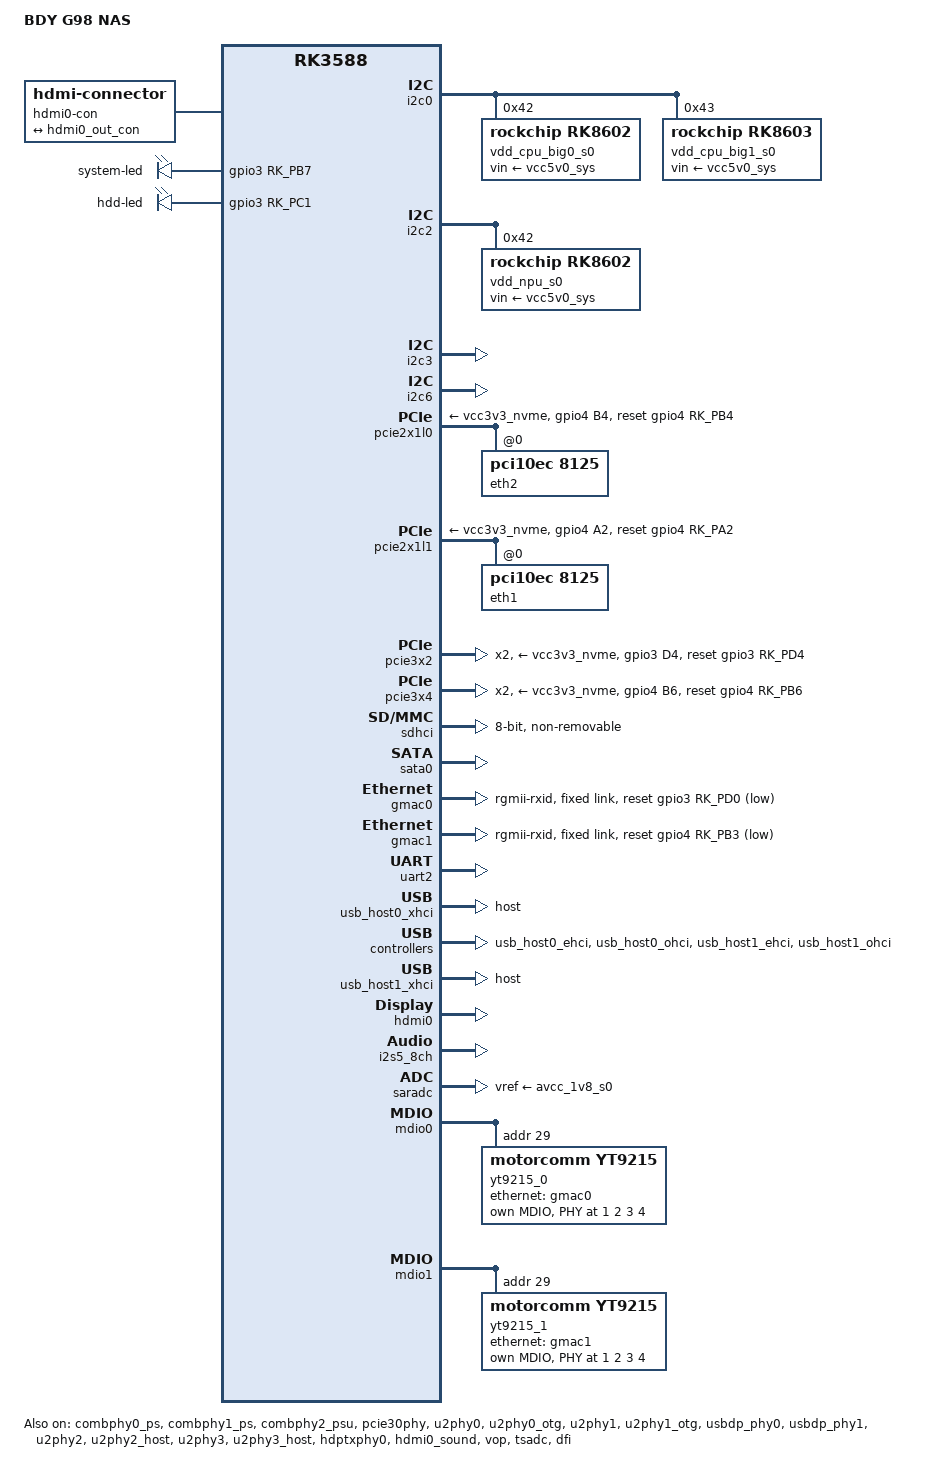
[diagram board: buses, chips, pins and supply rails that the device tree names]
// SPDX-License-Identifier: (GPL-2.0+ OR MIT)

/dts-v1/;

#include <dt-bindings/gpio/gpio.h>
#include <dt-bindings/input/input.h>
#include <dt-bindings/pinctrl/rockchip.h>
#include <dt-bindings/soc/rockchip,vop2.h>
#include "dt-bindings/usb/pd.h"
/*
 * G98 uses the validated v27 board-specific RK3588 base.  It is intentionally
 * kept separate from the generic upstream rk3588.dtsi used by other boards.
 */
#include "rk3588-bdy-g98-base.dtsi"

#include "rk3588-rk806-single-g98.dtsi"
//#include "rk3588s-ip.dtsi"
//#include "rk3588s-ip-supply.dtsi"
//#include "rk3588-ramoops.dtsi"

/ {
	/* Board-level source for the G98 iStoreOS 6.12 image. */
	model = "BDY G98 NAS";
	compatible = "bdy,g98-nas", "rockchip,rk3588";
	/* Stable naming: first RTL8125 is WAN, second RTL8125 and both
	 * YT9215 CPU conduits are LAN-side interfaces. */
	eth_order = "0003:31:00.0,0002:21:00.0,fe1b0000.ethernet,fe1c0000.ethernet";

	aliases {
		/* Keep eMMC as mmc0; U-Boot and fnOS rely on this numbering. */
		mmc0 = &sdhci;
		mmc1 = &sdmmc;
		ethernet0 = &gmac0;
		ethernet1 = &gmac1;
	};

	chosen {
		stdout-path = "serial2:1500000n8";
	};

	/* Reuse the v18 ADC key node; only the G98 recovery key is exposed. */
	adc-keys-0 {
		io-channel-names = "buttons";
		io-channels = <&saradc 1>;
		keyup-threshold-microvolt = <0x1b7740>;
		poll-interval = <0x64>;
		status = "okay";
		/delete-node/ button-maskrom;

		recovery-key {
			label = "F12";
			linux,code = <0x58>;
			press-threshold-microvolt = <0x6d6>;
		};
	};

	/* 12 V board input (v18 regulator node). */
	vcc12v_dcin: regulator-vcc12v-dcin {
		regulator-always-on;
		regulator-boot-on;
		regulator-min-microvolt = <12000000>;
		regulator-max-microvolt = <12000000>;
		regulator-name = "vcc12v_dcin";
	};

	/* 4 V rail feeding RK806 and the external RK8602 regulators. */
	vcc4v0_sys: regulator-vcc4v0-sys {
		regulator-always-on;
		regulator-boot-on;
		regulator-min-microvolt = <4000000>;
		regulator-max-microvolt = <4000000>;
		regulator-name = "vcc4v0_sys";
		vin-supply = <&vcc12v_dcin>;
	};

	/* 5 V system rail for USB and PCIe peripherals. */
	vcc5v0_sys: regulator-vcc5v0-sys {
		regulator-always-on;
		regulator-boot-on;
		regulator-min-microvolt = <5000000>;
		regulator-max-microvolt = <5000000>;
		regulator-name = "vcc5v0_sys";
		vin-supply = <&vcc12v_dcin>;
	};

	/* 1.1 V auxiliary rail. */
	vcc_1v1_nldo_s3: regulator-vcc-1v1-nldo-s3 {
		regulator-name = "vcc_1v1_nldo_s3";
		regulator-always-on;
		regulator-boot-on;
		regulator-min-microvolt = <1100000>;
		regulator-max-microvolt = <1100000>;
		vin-supply = <&vcc4v0_sys>;
	};

	/* Shared 3.3 V rail used by the active PCIe root ports. */
	vcc3v3_nvme: regulator-vcc3v3-pcie30 {
		regulator-min-microvolt = <3300000>;
		regulator-max-microvolt = <3300000>;
		regulator-name = "vcc3v3_nvme";
		vin-supply = <&vcc5v0_sys>;
		enable-active-high;
		gpios = <&gpio3 RK_PD5 GPIO_ACTIVE_HIGH>;
		startup-delay-us = <7500>;
		pinctrl-names = "default";
		pinctrl-0 = <&nvme_power_en>;
	};

	/* Unused PCIe2x1l2 rail; kept to preserve the board DT topology. */
	vcc3v3_pcie20: regulator-vcc3v3-pcie20 {
		regulator-always-on;
		regulator-boot-on;
		regulator-min-microvolt = <3300000>;
		regulator-max-microvolt = <3300000>;
		regulator-name = "vcc_3v3_pcie20";
		vin-supply = <&vcc_3v3_s3>;
	};

	/* Legacy per-port rail is disabled; active ports use vcc3v3_nvme. */
	regulator-vcc3v3-pcie2x1l0 {
		status = "disabled";
		enable-active-high;
		gpio = <&gpio4 RK_PC2 GPIO_ACTIVE_HIGH>;
		pinctrl-names = "default";
		pinctrl-0 = <&pcie2x1l0_power_en>;
		regulator-name = "vcc3v3_pcie2x1l0";
		regulator-min-microvolt = <3300000>;
		regulator-max-microvolt = <3300000>;
		vin-supply = <&vcc5v0_sys>;
	};

	/* 5 V rail for the USB host PHYs. */
	vcc5v0_host_regulator: regulator-vbus5v0-usb {
		enable-active-high;
		gpio = <&gpio4 RK_PB0 GPIO_ACTIVE_HIGH>;
		pinctrl-names = "default";
		pinctrl-0 = <&vcc5v0_host_en>;
		regulator-name = "vbus5v0_usb";
		regulator-boot-on;
		regulator-always-on;
		regulator-min-microvolt = <5000000>;
		regulator-max-microvolt = <5000000>;
		vin-supply = <&vcc5v0_sys>;
	};

	/* 5 V rail for the OTG connector. */
	vcc5v0_otg_regulator: regulator-vbus5v0-typec {
		enable-active-high;
		gpio = <&gpio4 RK_PA7 GPIO_ACTIVE_HIGH>;
		pinctrl-names = "default";
		pinctrl-0 = <&vcc5v0_otg_en>;
		regulator-min-microvolt = <5000000>;
		regulator-max-microvolt = <5000000>;
		regulator-name = "vcc5v0_otg";
		vin-supply = <&vcc5v0_sys>;
	};

	/* SD rail is retained even though the SD controller is disabled. */
	regulator-vcc3v3-sd-s0 {
		gpio = <&gpio4 RK_PA5 GPIO_ACTIVE_LOW>;
		regulator-boot-on;
		regulator-min-microvolt = <3300000>;
		regulator-max-microvolt = <3300000>;
		regulator-name = "vcc3v3_sd_s0";
		vin-supply = <&vcc_3v3_s3>;
	};

	/* Unpopulated 4G power rail retained from the board DT. */
	regulator-vdd-4g-3v3 {
		enable-active-high;
		gpio = <&gpio4 RK_PC6 GPIO_ACTIVE_HIGH>;
		pinctrl-names = "default";
		pinctrl-0 = <&g98_4g_power_en>;
		regulator-name = "vdd_4g_3v3";
		regulator-min-microvolt = <3300000>;
		regulator-max-microvolt = <3300000>;
		vin-supply = <&vcc5v0_sys>;
	};

	hdmi0-con {
		compatible = "hdmi-connector";
		type = "a";

		port {
			hdmi0_con_in: endpoint {
				remote-endpoint = <&hdmi0_out_con>;
			};
		};
	};

	leds {
		status = "okay";
		/delete-node/ led-0;

		system-led {
			default-state = "on";
			gpios = <&gpio3 RK_PB7 GPIO_ACTIVE_HIGH>;
			label = "system-led";
			linux,default-trigger = "default-on";
		};

		hdd-led {
			default-state = "off";
			gpios = <&gpio3 RK_PC1 GPIO_ACTIVE_HIGH>;
			label = "hdd-led";
			linux,default-trigger = "disk-activity";
		};
	};
};

/* v18 removed the stale HDMI1 connector from the base tree. */
/ {
	/delete-node/ hdmi1-con;
	/delete-node/ ir-receiver;
};

/* Media status is pinned to the v18 production tree. */
&{/npu@fdab0000} {
	status = "okay";
};

&{/npu@fdac0000} {
	status = "disabled";
};

&{/npu@fdad0000} {
	status = "disabled";
};

&{/mpp-srv} {
	status = "okay";
};

&{/vepu@fdb50000} {
	status = "disabled";
};

&{/vdpu@fdb50400} {
	status = "okay";
};

&{/avsd-plus@fdb51000} {
	status = "disabled";
};

&{/rga@fdb60000} {
	status = "okay";
};

&{/rga@fdb70000} {
	status = "okay";
};

&{/rga@fdb80000} {
	status = "okay";
};

/* ===== CPU Power ===== */

&cpu_l0 {
	cpu-supply = <&vdd_cpu_lit_s0>;
};

&cpu_l1 {
	cpu-supply = <&vdd_cpu_lit_s0>;
};

&cpu_l2 {
	cpu-supply = <&vdd_cpu_lit_s0>;
};

&cpu_l3 {
	cpu-supply = <&vdd_cpu_lit_s0>;
};

&cpu_b0 {
	cpu-supply = <&vdd_cpu_big0_s0>;
};

&cpu_b1 {
	cpu-supply = <&vdd_cpu_big0_s0>;
};

&cpu_b2 {
	cpu-supply = <&vdd_cpu_big1_s0>;
};

&cpu_b3 {
	cpu-supply = <&vdd_cpu_big1_s0>;
};

&i2c0 {
	pinctrl-names = "default";
	pinctrl-0 = <&i2c0m2_xfer>;
	status = "okay";

	vdd_cpu_big0_s0: regulator@42 {
		compatible = "rockchip,rk8602";
		reg = <0x42>;
		fcs,suspend-voltage-selector = <1>;
		regulator-name = "vdd_cpu_big0_s0";
		regulator-always-on;
		regulator-boot-on;
		regulator-min-microvolt = <550000>;
		regulator-max-microvolt = <1050000>;
		regulator-ramp-delay = <2300>;
		vin-supply = <&vcc5v0_sys>;

		regulator-state-mem {
			regulator-off-in-suspend;
		};
	};

	vdd_cpu_big1_s0: regulator@43 {
		compatible = "rockchip,rk8603", "rockchip,rk8602";
		reg = <0x43>;
		fcs,suspend-voltage-selector = <1>;
		regulator-name = "vdd_cpu_big1_s0";
		regulator-always-on;
		regulator-boot-on;
		regulator-min-microvolt = <550000>;
		regulator-max-microvolt = <1050000>;
		regulator-ramp-delay = <2300>;
		vin-supply = <&vcc5v0_sys>;

		regulator-state-mem {
			regulator-off-in-suspend;
		};
	};
};

/* ===== I2C / RTC ===== */

// i2c@fea90000
&i2c1 {
	pinctrl-names = "default";
	pinctrl-0 = <&i2c1m0_xfer>;
	status = "disabled";
};

// i2c2: i2c@feaa0000
&i2c2 {
	pinctrl-names = "default";
	pinctrl-0 = <&i2c2m0_xfer>;
	status = "okay";

	vdd_npu_s0: vdd_npu_mem_s0: regulator@42 {
		compatible = "rockchip,rk8602";
		reg = <0x42>;
		fcs,suspend-voltage-selector = <1>;
		regulator-name = "vdd_npu_s0";
		regulator-always-on;
		regulator-boot-on;
		regulator-enable-ramp-delay = <500>;
		regulator-min-microvolt = <550000>;
		regulator-max-microvolt = <950000>;
		regulator-ramp-delay = <2300>;
		vin-supply = <&vcc5v0_sys>;

		regulator-state-mem {
			regulator-off-in-suspend;
		};
	};
};

// i2c3: i2c@feab0000
&i2c3 {
	pinctrl-names = "default";
	pinctrl-0 = <&i2c3m0_xfer>;
	status = "okay";
};

// i2c4: i2c@feac0000
&i2c4 {
	pinctrl-names = "default";
	/* v18 production DTB uses the SoC i2c4m0 pin group. */
	pinctrl-0 = <&i2c4m0_xfer>;
	/* GPIO3_A5 is also GMAC1 RGMII clock; keep this unused bus disabled. */
	status = "disabled";
};

// i2c6: i2c@fec80000
&i2c6 {
	pinctrl-names = "default";
	pinctrl-0 = <&i2c6m0_xfer>;
	status = "okay";
};

/* ===== PCIe ===== */

// phy: phy@fee00000
&combphy0_ps {
	pinctrl-0 = <&sata0_pm_reset>;
	pinctrl-names = "default";
	status = "okay";
};

// phy: phy@fee10000
&combphy1_ps {
	status = "okay";
};

// phy: phy@fee20000
&combphy2_psu {
	status = "okay";
};

// phy: phy@fee80000
&pcie30phy {
	data-lanes = <1 1 2 2>;
	status = "okay";
};

// pcie2x1l0: pcie@fe170000
&pcie2x1l0 {
	pinctrl-names = "default";
	pinctrl-0 = <&pcie2_0_rst>;
	supports-clkreq;
	reset-gpios = <&gpio4 RK_PB4 GPIO_ACTIVE_HIGH>;
	vpcie3v3-supply = <&vcc3v3_nvme>;
	status = "okay";

	/* RTL8125 on PCI domain 2, bus 0x20. */
	pcie@0,0 {
		reg = <0x00200000 0 0 0 0>;
		#address-cells = <3>;
		#size-cells = <2>;

		pcie-eth@20,0 {
			compatible = "pci10ec,8125";
			reg = <0 0 0 0 0>;
			label = "eth2";
			realtek,led-data = <0x022b 0x022b 0x022b 0x022b>;
		};
	};
};

// pcie2x1l1: pcie@fe180000
&pcie2x1l1 {
	pinctrl-names = "default";
	pinctrl-0 = <&pcie2_1_rst>;
	supports-clkreq;
	reset-gpios = <&gpio4 RK_PA2 GPIO_ACTIVE_HIGH>;
	vpcie3v3-supply = <&vcc3v3_nvme>;
	status = "okay";

	/* RTL8125 on PCI domain 3, bus 0x30. */
	pcie@0,0 {
		reg = <0x00300000 0 0 0 0>;
		#address-cells = <3>;
		#size-cells = <2>;

		pcie-eth@30,0 {
			compatible = "pci10ec,8125";
			reg = <0 0 0 0 0>;
			label = "eth1";
			realtek,led-data = <0x022b 0x022b 0x022b 0x022b>;
		};
	};
};

// pcie2x1l2: pcie@fe190000
&pcie2x1l2 {
	vpcie3v3-supply = <&vcc3v3_pcie20>;
	status = "disabled";

	/* Legacy PCIe2x1l2 metadata; the whole controller remains disabled. */
	pcie@0,0 {
		reg = <0x00400000 0 0 0 0>;
		#address-cells = <3>;
		#size-cells = <2>;

		pcie-eth@40,0 {
			compatible = "pci10ec,8125";
			reg = <0 0 0 0 0>;
			label = "eth1";
		};
	};
};

// pcie3x2: pcie@fe160000
&pcie3x2 {
	pinctrl-names = "default";
	pinctrl-0 = <&pcie3x2_rst>;
	num-lanes = <2>;
	reset-gpios = <&gpio3 RK_PD4 GPIO_ACTIVE_HIGH>;
	vpcie3v3-supply = <&vcc3v3_nvme>;
	status = "okay";
};

// pcie3x4: pcie@fe150000
&pcie3x4 {
	pinctrl-names = "default";
	pinctrl-0 = <&pcie3x4_rst>;
	num-lanes = <2>;
	reset-gpios = <&gpio4 RK_PB6 GPIO_ACTIVE_HIGH>;
	vpcie3v3-supply = <&vcc3v3_nvme>;
	status = "okay";
};

/* ===== Pin Control ===== */

&pinctrl {
	/* The board has no IR receiver; remove the disabled placeholder too. */
	/delete-node/ ir-receiver;

	/* Helper used by the active SATA/combphy reset pin. */
	pcfg_output_high: pcfg-output-high {
		bias-disable;
	output-high;
	};

	pcie {
		pcie2_0_rst: pcie2-0-rst {
			rockchip,pins = <4 RK_PB4 RK_FUNC_GPIO &pcfg_pull_none>;
		};

		pcie2_1_rst: pcie2-1-rst {
			rockchip,pins = <4 RK_PA2 RK_FUNC_GPIO &pcfg_pull_none>;
		};

		pcie3x2_rst: pcie3x2-rst {
			rockchip,pins = <3 RK_PD4 RK_FUNC_GPIO &pcfg_pull_none>;
		};

		pcie3x4_rst: pcie3x4-rst {
			rockchip,pins = <4 RK_PB6 RK_FUNC_GPIO &pcfg_pull_none>;
		};

		pcie2x1l0_power_en: pcie2x1l0-power-en {
			rockchip,pins = <4 RK_PC2 RK_FUNC_GPIO &pcfg_pull_none>;
		};
	};

	cellular {
		g98_4g_power_en: 4g-lte-pwren {
			rockchip,pins = <4 RK_PC6 RK_FUNC_GPIO &pcfg_pull_none>;
		};
	};

	nvme {
		nvme_power_en: nvme-power-en {
			rockchip,pins = <3 RK_PD5 RK_FUNC_GPIO &pcfg_pull_none>;
		};
	};

	usb {
		vcc5v0_host_en: vcc5v0-host-en {
			rockchip,pins = <4 RK_PB0 RK_FUNC_GPIO &pcfg_pull_none>;
		};

		vcc5v0_otg_en: vcc5v0-otg-en {
			rockchip,pins = <4 RK_PA7 RK_FUNC_GPIO &pcfg_pull_none>;
		};
	};

	sata {
		sata0_pm_reset: sata0-pm-reset {
			rockchip,pins = <0 RK_PD5 RK_FUNC_GPIO &pcfg_output_high>;
		};
	};
};

/* ===== Storage ===== */

// sdhci: mmc@fe2e0000
&sdhci {
	/* The validated G98 DTB deliberately runs eMMC without CQE. */
	/delete-property/ supports-cqe;
	bus-width = <8>;
	no-sdio;
	no-sd;
	supports-emmc;
	non-removable;
	mmc-hs200-1_8v;
	mmc-hs400-1_8v;
	mmc-hs400-enhanced-strobe;
	status = "okay";
};

// sdmmc: mmc@fe2c0000
&sdmmc {
	status = "disabled";
};

// sdio: mmc@fe2d0000
&sdio {
	/delete-property/ pinctrl-0;
	/delete-property/ pinctrl-names;
	status = "disabled";
};

/* ===== SATA ===== */

// sata0: sata@fe210000
&sata0 {
	status = "okay";
};

/* The board has no bootable SPI-NOR path in the fnOS production image. */
&sfc {
	status = "disabled";
};

/* ===== Ethernet ===== */

// gmac0: ethernet@fe1b0000
&gmac0 {
	clock_in_out = "output";
	phy-mode = "rgmii-rxid";
	tx_delay = <0x44>;
	pinctrl-0 = <&gmac0_miim &gmac0_tx_bus2 &gmac0_rx_bus2 &gmac0_rgmii_clk &gmac0_rgmii_bus>;
	pinctrl-names = "default";
	snps,reset-active-low;
	snps,reset-delays-us = <0x00 0x4e20 0x186a0>;
	snps,reset-gpio = <&gpio3 RK_PD0 GPIO_ACTIVE_LOW>;
	snps,no-vlhash;
	snps,tso;
	status = "okay";

	fixed-link {
		speed = <1000>;
		full-duplex;
		pause;
	};
};

// gmac1: ethernet@fe1c0000
&gmac1 {
	clock_in_out = "output";
	phy-mode = "rgmii-rxid";
	tx_delay = <0x42>;
	pinctrl-0 = <&gmac1_miim &gmac1_tx_bus2 &gmac1_rx_bus2 &gmac1_rgmii_clk &gmac1_rgmii_bus>;
	pinctrl-names = "default";
	snps,reset-active-low;
	snps,reset-delays-us = <0x00 0x4e20 0x186a0>;
	snps,reset-gpio = <&gpio4 RK_PB3 GPIO_ACTIVE_LOW>;
	snps,no-vlhash;
	snps,tso;
	status = "okay";

	fixed-link {
		speed = <1000>;
		full-duplex;
		pause;
	};
};

/* ===== UART ===== */

&uart2 {
	pinctrl-0 = <&uart2m0_xfer>;
	status = "okay";
};

/* ===== USB ===== */
&u2phy0 {
	status = "okay";
};

&u2phy0_otg {
	phy-supply = <&vcc5v0_otg_regulator>;
	status = "okay";
};

&u2phy1 {
	status = "okay";
};

&u2phy1_otg {
	phy-supply = <&vcc5v0_host_regulator>;
	status = "okay";
};

// usbdp_phy0: phy@fed80000
&usbdp_phy0 {
	rockchip,dp-lane-mux = <2 3>;
	status = "okay";

	u3-port {
		#phy-cells = <0x00>;
		maximum-speed = "super-speed";
		status = "okay";
	};
};

// usbdp_phy1: phy@fed90000
&usbdp_phy1 {
	rockchip,dp-lane-mux = <2 3>;
	status = "okay";

	u3-port {
		#phy-cells = <0x00>;
		maximum-speed = "super-speed";
		status = "okay";
	};
};

// u2phy2: usb2phy@8000
&u2phy2 {
	status = "okay";
};

&u2phy2_host{
	phy-supply = <&vcc5v0_host_regulator>;
	status = "okay";
};

// usb_host0_xhci: usb@fc000000
&usb_host0_xhci {
	dr_mode = "host";
	status = "okay";
};

// usb_host0_ehci: usb@fc800000
&usb_host0_ehci {
	status = "okay";
};

// usb_host0_ohci: usb@fc840000
&usb_host0_ohci {
	status = "okay";
};

// u2phy3: usb2phy@c000
&u2phy3 {
	status = "okay";
};

&u2phy3_host{
	phy-supply = <&vcc5v0_host_regulator>;
	status = "okay";
};

// usb_host1_xhci: usb@fc400000
&usb_host1_xhci {
	dr_mode = "host";
	status = "okay";
};

// usb_host1_ehci: usb@fc880000
&usb_host1_ehci {
	status = "okay";
};

// usb_host1_ohci: usb@fc8c0000
&usb_host1_ohci {
	status = "okay";
};

/* ===== HDMI / Display ===== */
// hdptxphy0: phy@fed60000
&hdptxphy0 {
	status = "okay";
};

// hdmi@fde80000
&hdmi0 {
	pinctrl-names = "default";
	pinctrl-0 = <&hdmim0_tx0_cec &hdmim0_tx0_hpd &hdmim0_tx0_scl &hdmim0_tx0_sda>;
	enable-gpios = <&gpio4 RK_PB1 GPIO_ACTIVE_HIGH>;
	status = "okay";
};

&hdmi0_in {
	hdmi0_in_vp0: endpoint {
		remote-endpoint = <&vp0_out_hdmi0>;
	};
};

&hdmi0_out {
	hdmi0_out_con: endpoint {
		remote-endpoint = <&hdmi0_con_in>;
	};
};

&i2s5_8ch {
	status = "okay";
};

&hdmi0_sound {
	status = "okay";
};

&vop_mmu {
	status = "okay";
};

&vop {
	status = "okay";

	ports {
		port@1 {
			/delete-node/ endpoint@8;
		};
	};
};

&vp0 {
	/* v18 already carries HDMI0 on VP0 endpoint@2; merge that node instead
	 * of creating a second graph endpoint. */
	vp0_out_hdmi0: endpoint@2 {
		reg = <2>;
		remote-endpoint = <&hdmi0_in_vp0>;
	};
};

/* ===== Other ===== */

// saradc: adc@fec10000
&saradc {
	vref-supply = <&avcc_1v8_s0>;
	status = "okay";
};

// tsadc: tsadc@fec00000
&tsadc {
	status = "okay";
};

// dfi@fe060000
&dfi {
	status = "okay";
};

/* ===== Switch ===== */
&mdio0 {
	status = "okay";

	yt9215_0: switch@1d {
		compatible = "motorcomm,yt9215";
		reg = <0x1d>;
		dsa,member = <1 0>;
		motorcomm,bdy-g98-led-profile;

		mdio {
			#address-cells = <1>;
			#size-cells = <0>;

			sw1phy1: phy@1 { reg = <1>; };
			sw1phy2: phy@2 { reg = <2>; };
			sw1phy3: phy@3 { reg = <3>; };
			sw1phy4: phy@4 { reg = <4>; };
		};

		ethernet-ports {
			#address-cells = <1>;
			#size-cells = <0>;

			ethernet-port@1 {
				reg = <0x01>;
				label = "lan5";
				phy-mode = "internal";
				phy-handle = <&sw1phy1>;
			};

			ethernet-port@2 {
				reg = <0x02>;
				label = "lan6";
				phy-mode = "internal";
				phy-handle = <&sw1phy2>;
			};

			ethernet-port@3 {
				reg = <0x03>;
				label = "lan7";
				phy-mode = "internal";
				phy-handle = <&sw1phy3>;
			};

			ethernet-port@4 {
				reg = <0x04>;
				label = "lan8";
				phy-mode = "internal";
				phy-handle = <&sw1phy4>;
			};

			ethernet-port@9 {
				reg = <0x09>;
				ethernet = <&gmac0>;
				phy-mode = "rgmii-rxid";

				fixed-link {
					speed = <1000>;
					full-duplex;
					pause;
				};
			};
		};
	};
};

&mdio1 {
	status = "okay";

	yt9215_1: switch@1d {
		compatible = "motorcomm,yt9215";
		reg = <0x1d>;
		dsa,member = <0 0>;
		motorcomm,bdy-g98-led-profile;

		mdio {
			#address-cells = <1>;
			#size-cells = <0>;

			sw0phy1: phy@1 { reg = <1>; };
			sw0phy2: phy@2 { reg = <2>; };
			sw0phy3: phy@3 { reg = <3>; };
			sw0phy4: phy@4 { reg = <4>; };
		};

		ethernet-ports {
			#address-cells = <0x01>;
			#size-cells = <0x00>;

			ethernet-port@1 {
				reg = <0x01>;
				label = "lan1";
				phy-mode = "internal";
				phy-handle = <&sw0phy1>;
			};

			ethernet-port@2 {
				reg = <0x02>;
				label = "lan2";
				phy-mode = "internal";
				phy-handle = <&sw0phy2>;
			};

			ethernet-port@3 {
				reg = <0x03>;
				label = "lan3";
				phy-mode = "internal";
				phy-handle = <&sw0phy3>;
			};

			ethernet-port@4 {
				reg = <0x04>;
				label = "lan4";
				phy-mode = "internal";
				phy-handle = <&sw0phy4>;
			};

			ethernet-port@9 {
				reg = <0x09>;
				ethernet = <&gmac1>;
				phy-mode = "rgmii-rxid";

				fixed-link {
					speed = <1000>;
					full-duplex;
					pause;
				};
			};
		};
  };
};
